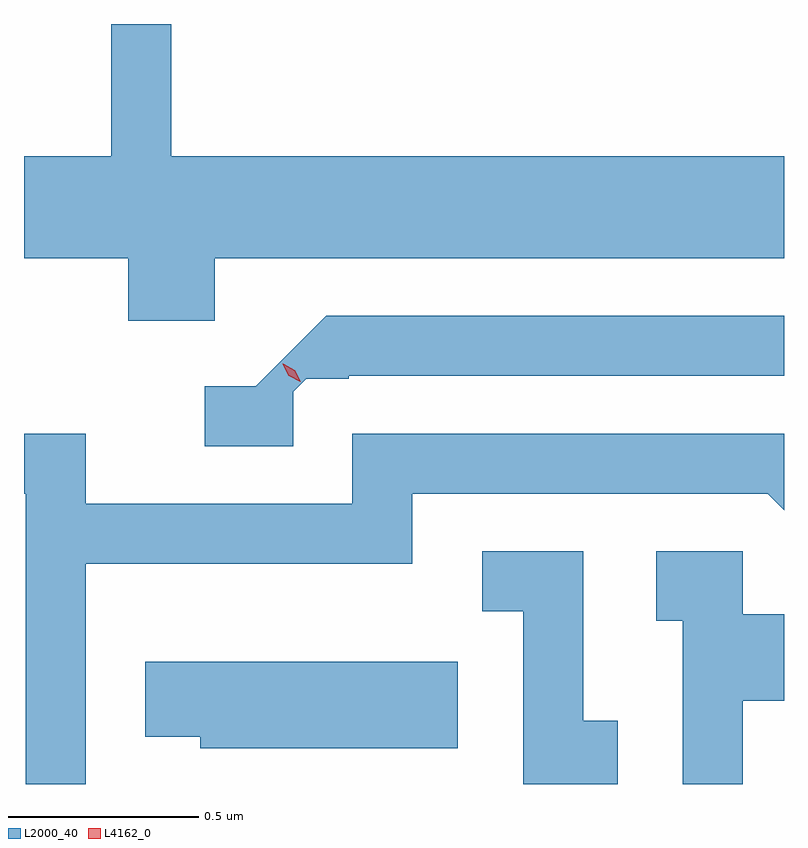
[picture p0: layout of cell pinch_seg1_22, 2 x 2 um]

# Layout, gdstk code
import gdstk
lib = gdstk.Library(unit=1e-6, precision=1e-09)
def P(c, l, *ps):  # polygons
    for p in ps: c.add(gdstk.Polygon(p, *l))
L2000_40 = (2000, 40)
L4162_0 = (4162, 0)

pinch_seg1_22 = lib.new_cell('pinch_seg1_22')
P(pinch_seg1_22, L2000_40, [(1856.769,884.036),(1858.267,884.036),(1858.267,884.304),(1856.654,884.304),(1856.654,884.652),(1856.496,884.652),(1856.496,884.304),(1856.267,884.304),(1856.267,884.036),(1856.541,884.036),(1856.541,883.871),(1856.769,883.871)],
  [(1856.975,883.684),(1857.01,883.719),(1857.121,883.719),(1857.121,883.726),(1858.267,883.726),(1858.267,883.884),(1857.062,883.884),(1856.877,883.699),(1856.743,883.699),(1856.743,883.541),(1856.975,883.541)],
  [(1856.429,883.231),(1857.289,883.231),(1857.289,883.416),(1858.224,883.416),(1858.267,883.373),(1858.267,883.574),(1857.131,883.574),(1857.131,883.389),(1856.429,883.389),(1856.429,883.574),(1856.267,883.574),(1856.267,883.416),(1856.271,883.416),(1856.271,882.652),(1856.429,882.652)],
  [(1857.829,882.819),(1857.739,882.819),(1857.739,883.264),(1857.473,883.264),(1857.473,883.106),(1857.581,883.106),(1857.581,882.652),(1857.829,882.652)],
  [(1858.159,882.871),(1858.267,882.871),(1858.267,883.099),(1858.159,883.099),(1858.159,883.264),(1857.931,883.264),(1857.931,883.081),(1858.001,883.081),(1858.001,882.652),(1858.159,882.652)],
  [(1857.409,882.974),(1856.586,882.974),(1856.586,882.776),(1856.731,882.776),(1856.731,882.746),(1857.409,882.746)])
P(pinch_seg1_22, L4162_0, [(1856.987,883.715),(1856.964,883.726),(1856.954,883.75),(1856.954,883.751),(1856.955,883.751),(1856.978,883.74),(1856.988,883.716),(1856.988,883.715)],
  [(1856.994,883.71),(1856.964,883.727),(1856.948,883.757),(1856.948,883.758),(1856.949,883.758),(1856.979,883.741),(1856.995,883.71),(1856.995,883.71)])

lib.write_gds('pinch_seg1_22.gds')
